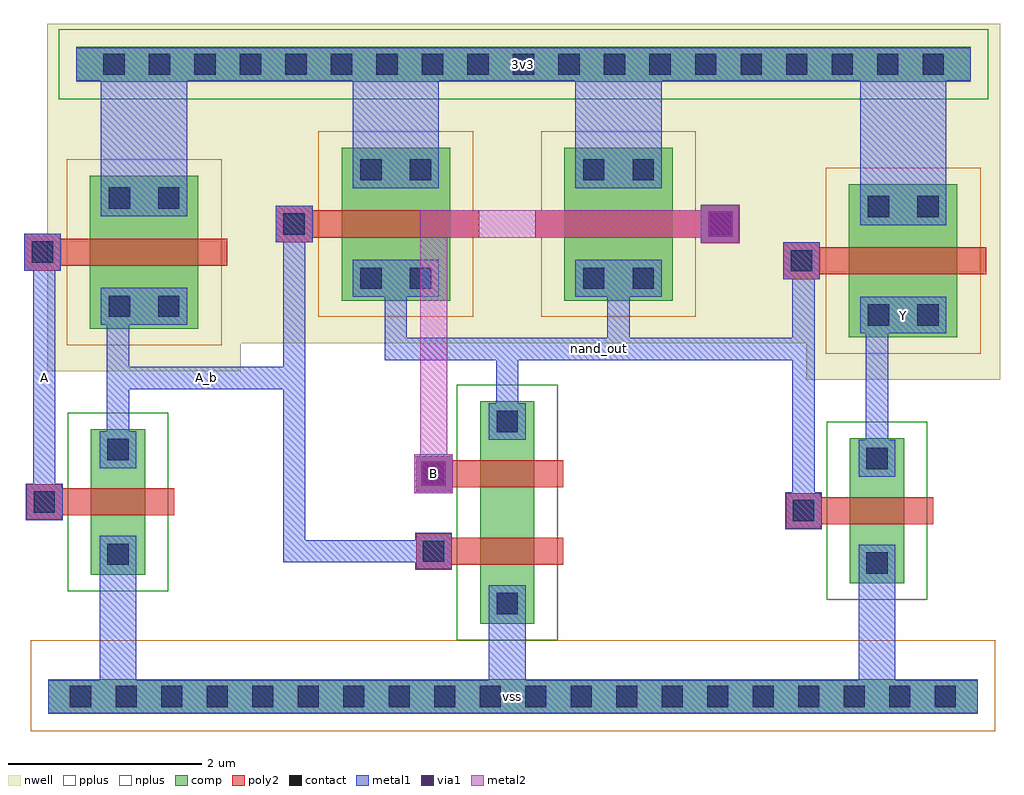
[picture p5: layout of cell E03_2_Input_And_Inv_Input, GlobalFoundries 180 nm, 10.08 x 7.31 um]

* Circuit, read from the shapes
.subckt E03_2_Input_And_Inv_Input 3v3 A A_b B Y nand_out vss
XM1 A_b A vss vss nfet_03v3 w=0.56u l=0.28u
XM2 n1 A_b vss vss nfet_03v3 w=0.56u l=0.28u
XM3 nand_out B n1 vss nfet_03v3 w=0.56u l=0.28u
XM4 Y nand_out vss vss nfet_03v3 w=0.56u l=0.28u
XM5 3v3 A A_b 3v3 pfet_03v3 w=1.12u l=0.28u
XM6 3v3 A_b nand_out 3v3 pfet_03v3 w=1.12u l=0.28u
XM7 3v3 B nand_out 3v3 pfet_03v3 w=1.12u l=0.28u
XM8 3v3 nand_out Y 3v3 pfet_03v3 w=1.12u l=0.28u
.ends

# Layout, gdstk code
import gdstk
lib = gdstk.Library(unit=1e-6, precision=1e-09)
def R(c, l, rs):  # rectangles x0, y0, x1, y1
    for r in rs: c.add(gdstk.rectangle(r[:2], r[2:], *l))
def A(c, l, x, y, w, h, nx, ny, dx, dy):  # array of equal rectangles
    R(c, l, [(x+i*dx, y+j*dy, x+i*dx+w, y+j*dy+h) for i in range(nx) for j in range(ny)])
def P(c, l, *ps):  # polygons
    for p in ps: c.add(gdstk.Polygon(p, *l))
nwell = (21, 0)
comp = (22, 0)
poly2 = (30, 0)
pplus = (31, 0)
nplus = (32, 0)
contact = (33, 0)
metal1 = (34, 0)
via1 = (35, 0)
metal2 = (36, 0)

e03_2_input_and_inv_inpu = lib.new_cell('E03_2_Input_And_Inv_Input')
P(e03_2_input_and_inv_inpu, nwell, [(2.63,-0.03),(2.63,0.35),(-3.21,0.35),(-3.21,0.06),(-5.21,0.06),(-5.21,3.65),(4.63,3.65),(4.63,-0.03)])
R(e03_2_input_and_inv_inpu, comp, [(-5.2,-3.48,4.4,-3.12), (-0.74,-2.55,-0.18,-0.25), (3.08,-2.13,3.64,-0.63), (-4.76,-2.04,-4.2,-0.54), (3.07,0.41,4.19,1.99), (-4.77,0.5,-3.65,2.08), (-2.17,0.79,-1.05,2.37), (0.13,0.79,1.25,2.37), (-4.91,3.05,4.33,3.41)])
P(e03_2_input_and_inv_inpu, poly2, [(-1.4,-1.98),(-1.4,-1.62),(-1.04,-1.62),(-1.04,-1.66),(0.12,-1.66),(0.12,-1.94),(-1.04,-1.94),(-1.04,-1.98)],
  [(2.42,-1.56),(2.42,-1.2),(2.78,-1.2),(2.78,-1.24),(3.94,-1.24),(3.94,-1.52),(2.78,-1.52),(2.78,-1.56)],
  [(-5.42,-1.47),(-5.42,-1.11),(-5.06,-1.11),(-5.06,-1.15),(-3.9,-1.15),(-3.9,-1.43),(-5.06,-1.43),(-5.06,-1.47)],
  [(-1.4,-1.18),(-1.4,-0.82),(-1.04,-0.82),(-1.04,-0.86),(0.12,-0.86),(0.12,-1.14),(-1.04,-1.14),(-1.04,-1.18)],
  [(2.39,1.01),(2.39,1.39),(2.77,1.39),(2.77,1.34),(4.49,1.34),(4.49,1.06),(2.77,1.06),(2.77,1.01)],
  [(-5.45,1.1),(-5.45,1.48),(-5.07,1.48),(-5.07,1.43),(-3.35,1.43),(-3.35,1.15),(-5.07,1.15),(-5.07,1.1)],
  [(-2.85,1.39),(-2.85,1.77),(-2.47,1.77),(-2.47,1.72),(-0.75,1.72),(-0.75,1.44),(-2.47,1.44),(-2.47,1.39)],
  [(1.55,1.39),(1.55,1.44),(-0.17,1.44),(-0.17,1.72),(1.55,1.72),(1.55,1.77),(1.93,1.77),(1.93,1.39)])
R(e03_2_input_and_inv_inpu, pplus, [(-5.38,-3.66,4.58,-2.72), (2.83,0.24,4.43,2.16), (-5.01,0.33,-3.41,2.25), (-2.41,0.62,-0.81,2.54), (-0.11,0.62,1.49,2.54)])
R(e03_2_input_and_inv_inpu, nplus, [(-0.98,-2.72,0.06,-0.08), (2.84,-2.3,3.88,-0.46), (-5,-2.21,-3.96,-0.37), (-5.09,2.87,4.51,3.59)])
A(e03_2_input_and_inv_inpu, contact, -4.975, -3.41, 0.22, 0.22, 20, 1, 0.47, 0)
A(e03_2_input_and_inv_inpu, contact, -4.63, 3.12, 0.22, 0.22, 19, 1, 0.47, 0)
R(e03_2_input_and_inv_inpu, contact, [(-0.57,-2.45,-0.35,-2.23), (3.25,-2.03,3.47,-1.81), (-4.59,-1.94,-4.37,-1.72), (-1.33,-1.91,-1.11,-1.69), (2.49,-1.49,2.71,-1.27), (-5.35,-1.4,-5.13,-1.18), (-1.33,-1.11,-1.11,-0.89), (3.25,-0.95,3.47,-0.73), (-4.59,-0.86,-4.37,-0.64), (-0.57,-0.57,-0.35,-0.35), (3.265,0.53,3.485,0.75), (3.775,0.53,3.995,0.75), (-4.575,0.62,-4.355,0.84), (-4.065,0.62,-3.845,0.84), (-1.975,0.91,-1.755,1.13), (-1.465,0.91,-1.245,1.13), (0.325,0.91,0.545,1.13), (0.835,0.91,1.055,1.13), (2.47,1.09,2.69,1.31), (-5.37,1.18,-5.15,1.4), (-2.77,1.47,-2.55,1.69), (1.63,1.47,1.85,1.69), (3.265,1.65,3.485,1.87), (3.775,1.65,3.995,1.87), (-4.575,1.74,-4.355,1.96), (-4.065,1.74,-3.845,1.96), (-1.975,2.03,-1.755,2.25), (-1.465,2.03,-1.245,2.25), (0.325,2.03,0.545,2.25), (0.835,2.03,1.055,2.25)])
R(e03_2_input_and_inv_inpu, metal1, [(-1.42,-1.2,-1.02,-0.8), (1.54,1.38,1.94,1.78)])
P(e03_2_input_and_inv_inpu, metal1, [(-5.2,-3.47),(-5.2,-3.13),(-4.67,-3.13),(-4.67,-1.64),(-4.29,-1.64),(-4.29,-3.13),(-0.65,-3.13),(-0.65,-2.15),(-0.27,-2.15),(-0.27,-3.13),(3.17,-3.13),(3.17,-1.73),(3.55,-1.73),(3.55,-3.13),(4.4,-3.13),(4.4,-3.47)],
  [(3.17,-1.03),(3.17,-0.65),(3.245,-0.65),(3.245,0.45),(3.185,0.45),(3.185,0.83),(4.075,0.83),(4.075,0.45),(3.475,0.45),(3.475,-0.65),(3.55,-0.65),(3.55,-1.03)],
  [(2.41,-1.57),(2.41,-1.19),(2.485,-1.19),(2.485,0.175),(-0.345,0.175),(-0.345,-0.27),(-0.27,-0.27),(-0.27,-0.65),(-0.65,-0.65),(-0.65,-0.27),(-0.575,-0.27),(-0.575,0.175),(-1.725,0.175),(-1.725,0.83),(-2.055,0.83),(-2.055,1.21),(-1.165,1.21),(-1.165,0.83),(-1.495,0.83),(-1.495,0.405),(0.575,0.405),(0.575,0.83),(0.245,0.83),(0.245,1.21),(1.135,1.21),(1.135,0.83),(0.805,0.83),(0.805,0.405),(2.485,0.405),(2.485,1.01),(2.39,1.01),(2.39,1.39),(2.77,1.39),(2.77,1.01),(2.715,1.01),(2.715,-1.19),(2.79,-1.19),(2.79,-1.57)],
  [(-5.43,-1.48),(-5.43,-1.1),(-5.355,-1.1),(-5.355,1.1),(-5.45,1.1),(-5.45,1.48),(-5.07,1.48),(-5.07,1.1),(-5.125,1.1),(-5.125,-1.1),(-5.05,-1.1),(-5.05,-1.48)],
  [(-1.41,-1.99),(-1.41,-1.915),(-2.775,-1.915),(-2.775,-0.125),(-4.365,-0.125),(-4.365,-0.56),(-4.29,-0.56),(-4.29,-0.94),(-4.67,-0.94),(-4.67,-0.56),(-4.595,-0.56),(-4.595,0.54),(-4.655,0.54),(-4.655,0.92),(-3.765,0.92),(-3.765,0.54),(-4.365,0.54),(-4.365,0.105),(-2.775,0.105),(-2.775,1.39),(-2.85,1.39),(-2.85,1.77),(-2.47,1.77),(-2.47,1.39),(-2.545,1.39),(-2.545,-1.685),(-1.41,-1.685),(-1.41,-1.61),(-1.03,-1.61),(-1.03,-1.99)],
  [(3.185,1.57),(3.185,3.06),(1.135,3.06),(1.135,1.95),(0.245,1.95),(0.245,3.06),(-1.165,3.06),(-1.165,1.95),(-2.055,1.95),(-2.055,3.06),(-3.765,3.06),(-3.765,1.66),(-4.655,1.66),(-4.655,3.06),(-4.91,3.06),(-4.91,3.4),(4.33,3.4),(4.33,3.06),(4.075,3.06),(4.075,1.57)])
R(e03_2_input_and_inv_inpu, via1, [(-1.35,-1.13,-1.09,-0.87), (1.61,1.45,1.87,1.71)])
P(e03_2_input_and_inv_inpu, metal2, [(-1.42,-1.2),(-1.42,-0.8),(-1.36,-0.8),(-1.36,1.72),(1.54,1.72),(1.54,1.78),(1.94,1.78),(1.94,1.38),(1.54,1.38),(1.54,1.44),(-1.08,1.44),(-1.08,-0.8),(-1.02,-0.8),(-1.02,-1.2)])
e03_2_input_and_inv_inpu.add(gdstk.Label('A', (-5.24,0), layer=34, texttype=10))
e03_2_input_and_inv_inpu.add(gdstk.Label('B', (-1.22,-1), layer=34, texttype=10))
e03_2_input_and_inv_inpu.add(gdstk.Label('A_b', (-3.57,-0.01), layer=34, texttype=10))
e03_2_input_and_inv_inpu.add(gdstk.Label('nand_out', (0.495,0.29), layer=34, texttype=10))
e03_2_input_and_inv_inpu.add(gdstk.Label('Y', (3.63,0.64), layer=34, texttype=10))
e03_2_input_and_inv_inpu.add(gdstk.Label('3v3', (-0.29,3.23), layer=34, texttype=10))
e03_2_input_and_inv_inpu.add(gdstk.Label('vss', (-0.4,-3.3), layer=34, texttype=10))

lib.write_gds('E03_2_Input_And_Inv_Input.gds')
